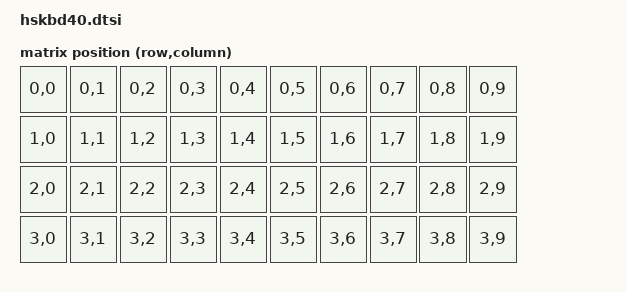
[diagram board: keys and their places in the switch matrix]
/*
 * Copyright (c) 2025 HSKBD40
 * SPDX-License-Identifier: MIT
 */

#include <dt-bindings/zmk/matrix_transform.h>

/ {
    chosen {
        zmk,kscan = &kscan0;
        zmk,matrix-transform = &default_transform;
    };

    default_transform: keymap_transform_0 {
        compatible = "zmk,matrix-transform";
        columns = <10>;
        rows = <4>;

        /*
         * キー配列 (左5列 + 右5列 = 10列, 4行)
         *
         * | L01 | L02 | L03 | L04 | L05 | R01 | R02 | R03 | R04 | R05 |
         * | L06 | L07 | L08 | L09 | L10 | R06 | R07 | R08 | R09 | R10 |
         * | L11 | L12 | L13 | L14 | L15 | R11 | R12 | R13 | R14 | R15 |
         * | L16 | L17 | L18 | L19 | L20 | R16 | R17 | R18 | R19 | R20 |
         */
        map = <
            RC(0,0) RC(0,1) RC(0,2) RC(0,3) RC(0,4)   RC(0,5) RC(0,6) RC(0,7) RC(0,8) RC(0,9)
            RC(1,0) RC(1,1) RC(1,2) RC(1,3) RC(1,4)   RC(1,5) RC(1,6) RC(1,7) RC(1,8) RC(1,9)
            RC(2,0) RC(2,1) RC(2,2) RC(2,3) RC(2,4)   RC(2,5) RC(2,6) RC(2,7) RC(2,8) RC(2,9)
            RC(3,0) RC(3,1) RC(3,2) RC(3,3) RC(3,4)   RC(3,5) RC(3,6) RC(3,7) RC(3,8) RC(3,9)
        >;
    };
};
